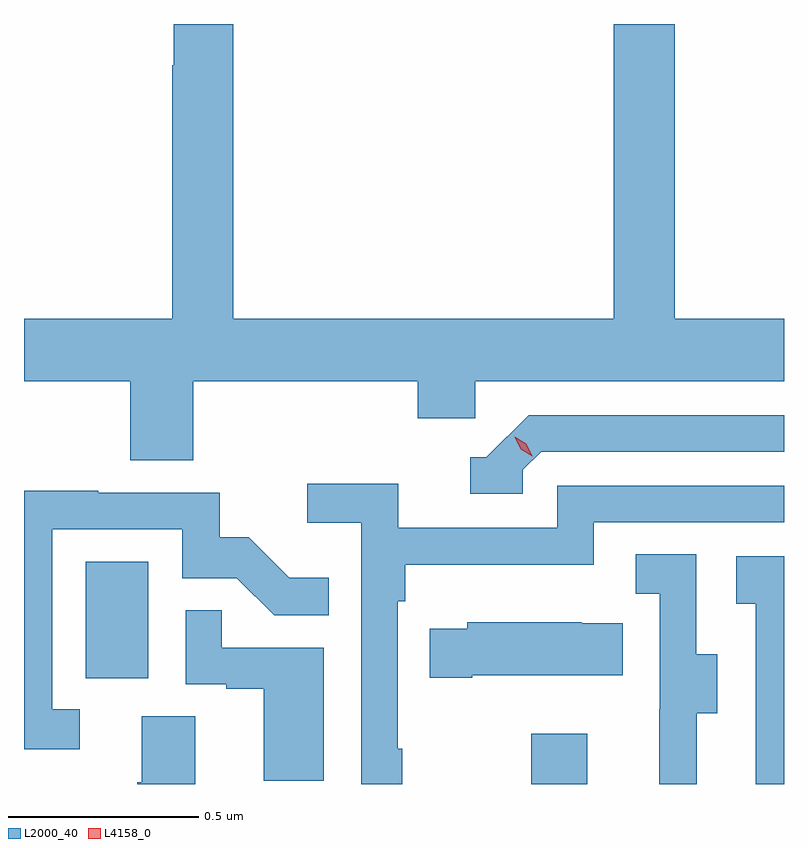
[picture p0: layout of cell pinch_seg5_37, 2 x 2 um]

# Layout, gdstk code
import gdstk
lib = gdstk.Library(unit=1e-6, precision=1e-09)
def R(c, l, rs):  # rectangles x0, y0, x1, y1
    for r in rs: c.add(gdstk.rectangle(r[:2], r[2:], *l))
def P(c, l, *ps):  # polygons
    for p in ps: c.add(gdstk.Polygon(p, *l))
L2000_40 = (2000, 40)
L4158_0 = (4158, 0)

pinch_seg5_37 = lib.new_cell('pinch_seg5_37')
R(pinch_seg5_37, L2000_40, [(1104.22,894.328,1104.367,894.46), (1103.048,894.606,1103.212,894.913)])
P(pinch_seg5_37, L2000_40, [(1103.33,895.388),(1103.921,895.388),(1103.921,895.29),(1104.072,895.29),(1104.072,895.388),(1104.885,895.388),(1104.885,895.552),(1104.597,895.552),(1104.597,896.328),(1104.437,896.328),(1104.437,895.552),(1103.435,895.552),(1103.435,896.328),(1103.279,896.328),(1103.279,896.219),(1103.275,896.219),(1103.275,895.552),(1102.885,895.552),(1102.885,895.388),(1103.165,895.388),(1103.165,895.18),(1103.33,895.18)],
  [(1104.198,895.155),(1104.246,895.203),(1104.885,895.203),(1104.885,895.299),(1104.213,895.299),(1104.102,895.188),(1104.059,895.188),(1104.059,895.092),(1104.198,895.092)],
  [(1103.881,894.421),(1103.868,894.421),(1103.868,894.809),(1103.888,894.809),(1103.888,894.905),(1104.384,894.905),(1104.384,895.017),(1104.885,895.017),(1104.885,895.113),(1104.288,895.113),(1104.288,895.002),(1103.87,895.002),(1103.87,895.118),(1103.631,895.118),(1103.631,895.016),(1103.772,895.016),(1103.772,894.328),(1103.881,894.328)],
  [(1103.032,894.525),(1102.959,894.525),(1102.959,894.999),(1103.301,894.999),(1103.301,894.87),(1103.445,894.87),(1103.543,894.772),(1103.687,894.772),(1103.687,894.871),(1103.583,894.871),(1103.476,894.978),(1103.4,894.978),(1103.4,895.095),(1103.081,895.095),(1103.081,895.1),(1102.885,895.1),(1102.885,894.42),(1103.032,894.42)],
  [(1104.655,894.514),(1104.709,894.514),(1104.709,894.669),(1104.654,894.669),(1104.654,894.932),(1104.495,894.932),(1104.495,894.829),(1104.558,894.829),(1104.558,894.525),(1104.557,894.525),(1104.557,894.328),(1104.655,894.328)],
  [(1104.885,894.927),(1104.759,894.927),(1104.759,894.803),(1104.81,894.803),(1104.81,894.328),(1104.885,894.328)],
  [(1103.674,894.687),(1103.405,894.687),(1103.405,894.785),(1103.31,894.785),(1103.31,894.591),(1103.417,894.591),(1103.417,894.579),(1103.516,894.579),(1103.516,894.336),(1103.674,894.336)],
  [(1104.064,894.614),(1104.461,894.614),(1104.461,894.751),(1104.353,894.751),(1104.353,894.754),(1104.051,894.754),(1104.051,894.736),(1103.953,894.736),(1103.953,894.607),(1104.064,894.607)],
  [(1103.335,894.506),(1103.195,894.506),(1103.195,894.332),(1103.183,894.332),(1103.183,894.328),(1103.335,894.328)])
P(pinch_seg5_37, L4158_0, [(1104.223,895.19),(1104.192,895.209),(1104.176,895.242),(1104.176,895.242),(1104.176,895.242),(1104.207,895.223),(1104.223,895.19),(1104.223,895.19)])

lib.write_gds('pinch_seg5_37.gds')
